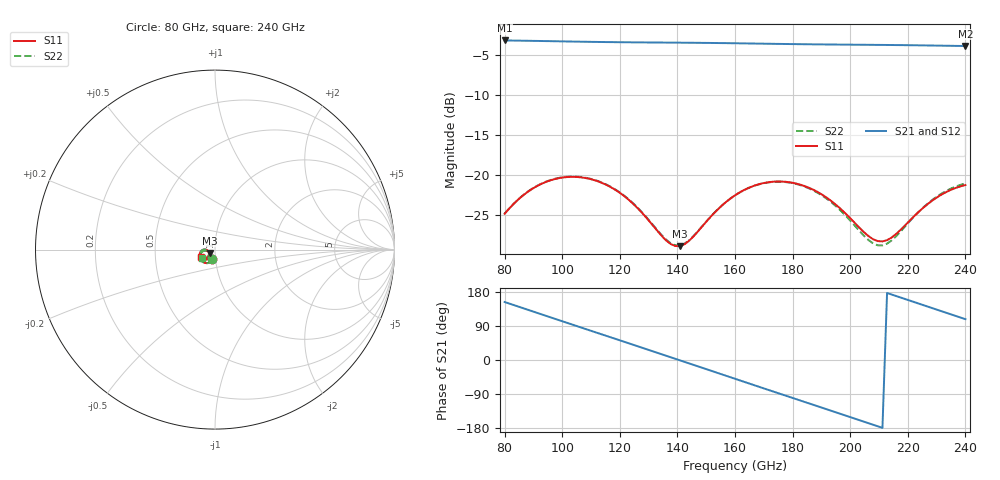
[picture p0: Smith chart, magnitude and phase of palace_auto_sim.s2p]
#  GHZ S DB R 50
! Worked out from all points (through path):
!   101 points, 80 GHz to 240 GHz, reference 50 ohm
!   highest |S21| = -3.17 dB at 80 GHz (marker M1); lowest = -3.9 dB at 240 GHz (marker M2)
!   group delay of S21, straight-line fit = 7.04 ps
!   lowest |S11| = -28.9 dB at 140.8 GHz (marker M3), VSWR 1.07, Z = 47 - j1.82 ohm
!   |S11| at or under -10 dB: start of sweep to end of sweep
!   |S22| runs from -28.9 to -20.2 dB; largest |S21 - S12| = 1.2e-13
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80  -24.88 -106.8  -3.17 153.1  -3.17 153.1  -24.87 -106.3
86.4  -22.58 -111.3  -3.20 136.8  -3.20 136.8  -22.56 -110.9
94.4  -20.88 -123.7  -3.25 116.5  -3.25 116.5  -20.85 -123.3
100.8  -20.31 -135.4  -3.29 100.3  -3.29 100.3  -20.28 -135.0
107.2  -20.35 -147.3  -3.33 84.2  -3.33 84.2  -20.31 -146.9
113.6  -20.98 -158.6  -3.36 68.0  -3.36 68.0  -20.94 -158.2
120  -22.26 -168.2  -3.39 51.9  -3.39 51.9  -22.21 -167.8
128  -24.88 -174.5  -3.42 31.7  -3.42 31.7  -24.81 -174.1
134.4  -27.59 -168.6  -3.43 15.5  -3.43 15.5  -27.50 -168.4
140.8  -28.94 -147.3  -3.45 -0.7  -3.45 -0.7  -28.85 -147.3
150.4  -25.72 -125.8  -3.48 -25.1  -3.48 -25.1  -25.70 -126.0
160  -22.57 -131.0  -3.52 -49.5  -3.52 -49.5  -22.58 -131.1
168  -21.21 -142.3  -3.56 -69.8  -3.56 -69.8  -21.23 -142.3
174.4  -20.84 -152.5  -3.60 -86.0  -3.60 -86.0  -20.87 -152.6
180.8  -21.06 -162.8  -3.63 -102.2  -3.63 -102.2  -21.11 -162.9
187.2  -21.87 -172.0  -3.66 -118.3  -3.66 -118.3  -21.96 -172.2
201.6  -26.03 -179.4  -3.70 -154.8  -3.70 -154.8  -26.37 -179.4
208  -28.08 -166.9  -3.72 -171.0  -3.72 -171.0  -28.61 -165.3
214.4  -27.86 -146.7  -3.74 172.8  -3.74 172.8  -28.22 -142.6
225.6  -24.06 -136.2  -3.79 144.3  -3.79 144.3  -24.02 -132.1
233.6  -22.11 -143.4  -3.83 124.0  -3.83 124.0  -21.97 -139.5
240  -21.29 -152.1  -3.87 107.8  -3.87 107.8  -21.09 -148.2
